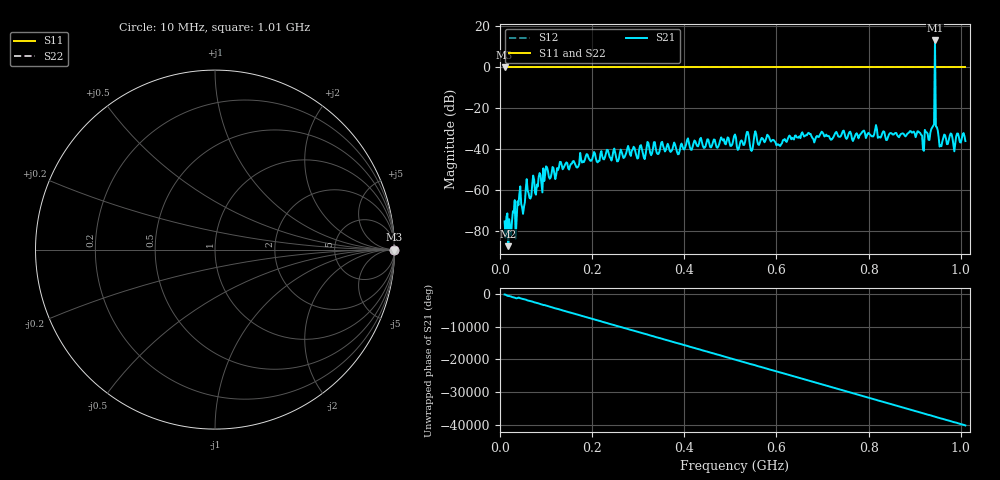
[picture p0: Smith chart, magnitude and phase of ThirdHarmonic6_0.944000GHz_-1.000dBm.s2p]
! 8/16/2025 6:42:07 AM
! C:\ANRITSUVNA\TEMP\TEMP.S2P
! CHANNEL.1
! TR.MEASUREMENT
! RAW.DATA
! RF.CORRECTION.OFF
! AVERAGING.OFF
! IF.BANDWIDTH: 5KHZ
! SWEEPTYPE:  FREQ.SWEEP(Linear)
! Reference Plane Port Info
! PORT:  PORT1  PORT2
! DISTANCE:  0  m  0  m
! TIME:  0  s  0  s
! PHASE.OFFSET:  0  deg.  0  deg.
! LOSS:  0  dB  0  dB
! REF.LOSS:  0  dB  0  dB
! REF.FREQ:  0  Hz  0  Hz
! Power Info
! POWER:  -20  dBm  -20  dBm
! EFF.POWER:  -20  dBm  -20  dBm
! SOURCE.ATTEN:  0  dB  0  dB
! TEST.ATTEN:  0  dB  0  dB
# GHZ S RI R 50.0
! FREQ.GHZ  S11RE  S11IM  S21RE  S21IM  S12RE  S12IM  S22RE  S22IM
!; PortSelection: Port_12
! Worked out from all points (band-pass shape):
!   501 points, 10 MHz to 1.01 GHz, reference 50 ohm
!   highest |S21| = 13.13 dB at 944 MHz (marker M1); lowest = -87.4 dB at 18 MHz (marker M2)
!   |S21| within 3 dB of the highest: 943.8536 MHz to 944.1427 MHz (289 kHz wide, 0.0306 % of centre)
!   lowest |S11| = 0.0 dB at 10 MHz (marker M3)
!   |S11| at or under -10 dB: nowhere
!   |S22| runs from 0.0 to 0.0 dB; largest |S21 - S12| = 4.7
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0.01  1 0  -1.47e-05 -0.000171  1 0  1 0
0.018  1 0  -3.95e-05 1.6e-05  1 0  1 0
0.042  1 0  0.000753 -0.000238  1 0  1 0
0.05  1 0  0.000247 -8.89e-05  1 0  1 0
0.058  1 0  0.00183 0.000288  1 0  1 0
0.098  1 0  -0.00214 -0.00111  1 0  1 0
0.178  1 0  -0.00469 -0.000551  1 0  1 0
0.344  1 0  0.00689 -0.00334  1 0  1 0
0.51  1 0  -0.0083 0.0213  1 0  1 0
0.538  1 0  0.0137 0.0223  1 0  1 0
0.546  1 0  -0.00294 0.00859  1 0  1 0
0.554  1 0  -0.0244 0.0123  1 0  1 0
0.678  1 0  -0.0187 0.0012  1 0  1 0
0.844  1 0  0.0202 -0.0103  1 0  1 0
0.916  1 0  0.00886 -0.0197  1 0  1 0
0.938  1 0  -0.0224 0.0255  1 0  1 0
0.94  1 0  0.0261 0.0261  1 0  1 0
0.944  1 0  -0.397 -4.519  1 0  1 0
0.948  1 0  0.0251 0.0239  1 0  1 0
0.95  1 0  0.0183 -0.0223  1 0  1 0
0.956  1 0  0.000268 0.0124  1 0  1 0
1.01  1 0  0.0062 0.0145  1 0  1 0
